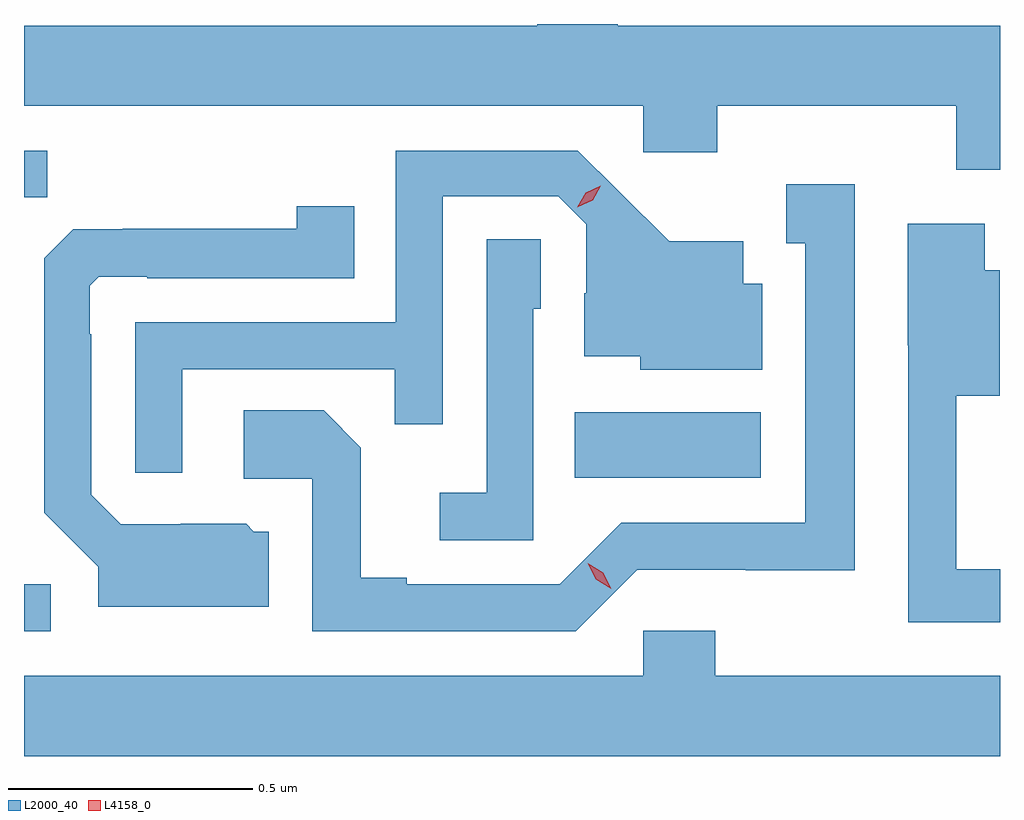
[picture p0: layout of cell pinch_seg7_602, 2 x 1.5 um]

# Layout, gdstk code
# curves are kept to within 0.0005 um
import gdstk
lib = gdstk.Library(unit=1e-6, precision=1e-09)
def R(c, l, rs):  # rectangles x0, y0, x1, y1
    for r in rs: c.add(gdstk.rectangle(r[:2], r[2:], *l))
def P(c, l, *ps):  # polygons
    for p in ps: c.add(gdstk.Polygon(p, *l))
L2000_40 = (2000, 40)
L4158_0 = (4158, 0)

pinch_seg7_602 = lib.new_cell('pinch_seg7_602')
R(pinch_seg7_602, L2000_40, [(113.595,1054.152,113.65,1054.248), (114.724,1054.466,115.105,1054.6), (113.595,1055.041,113.643,1055.136)])
P(pinch_seg7_602, L2000_40, [(115.595,1055.392),(114.812,1055.392),(114.812,1055.396),(114.647,1055.396),(114.647,1055.392),(113.595,1055.392),(113.595,1055.228),(114.864,1055.228),(114.864,1055.133),(115.016,1055.133),(115.016,1055.228),(115.505,1055.228),(115.505,1055.097),(115.595,1055.097)],
  [(113.919,1054.689),(114.355,1054.689),(114.355,1054.576),(114.453,1054.576),(114.453,1055.043),(114.69,1055.043),(114.747,1054.986),(114.747,1054.844),(114.743,1054.844),(114.743,1054.715),(114.858,1054.715),(114.858,1054.688),(115.108,1054.688),(115.108,1054.864),(115.069,1054.864),(115.069,1054.951),(114.917,1054.951),(114.73,1055.136),(114.357,1055.136),(114.357,1054.785),(113.823,1054.785),(113.823,1054.476),(113.919,1054.476)],
  [(114.852,1054.278),(115.074,1054.278),(115.074,1054.277),(115.297,1054.277),(115.297,1055.068),(115.157,1055.068),(115.157,1054.947),(115.196,1054.947),(115.196,1054.374),(114.819,1054.374),(114.693,1054.248),(114.379,1054.248),(114.379,1054.261),(114.285,1054.261),(114.285,1054.528),(114.209,1054.604),(114.045,1054.604),(114.045,1054.464),(114.186,1054.464),(114.186,1054.152),(114.726,1054.152)],
  [(114.097,1054.356),(114.066,1054.356),(114.05,1054.372),(113.916,1054.372),(113.916,1054.371),(113.793,1054.371),(113.733,1054.431),(113.733,1054.76),(113.73,1054.76),(113.73,1054.86),(113.748,1054.878),(113.848,1054.878),(113.848,1054.875),(114.272,1054.875),(114.272,1055.023),(114.154,1055.023),(114.154,1054.976),(113.797,1054.976),(113.797,1054.975),(113.696,1054.975),(113.637,1054.916),(113.637,1054.394),(113.747,1054.284),(113.747,1054.202),(114.097,1054.202)],
  [(115.595,1054.279),(115.505,1054.279),(115.505,1054.634),(115.594,1054.634),(115.594,1054.891),(115.564,1054.891),(115.564,1054.987),(115.406,1054.987),(115.406,1054.738),(115.407,1054.738),(115.407,1054.17),(115.595,1054.17)],
  [(114.639,1054.812),(114.654,1054.812),(114.654,1054.955),(114.543,1054.955),(114.543,1054.435),(114.447,1054.435),(114.447,1054.338),(114.639,1054.338)],
  [(115.595,1054.06),(115.011,1054.06),(115.011,1054.153),(114.864,1054.153),(114.864,1054.06),(113.595,1054.06),(113.595,1053.896),(115.595,1053.896)])
P(pinch_seg7_602, L4158_0, [(114.798,1054.239),(114.767,1054.258),(114.75,1054.291),(114.75,1054.291),(114.75,1054.291),(114.782,1054.272),(114.798,1054.239),(114.798,1054.239)],
  [(114.729,1055.02),(114.729,1055.021),(114.746,1055.05),(114.777,1055.065),(114.777,1055.065),(114.777,1055.065),(114.76,1055.035),(114.729,1055.02)])

lib.write_gds('pinch_seg7_602.gds')
